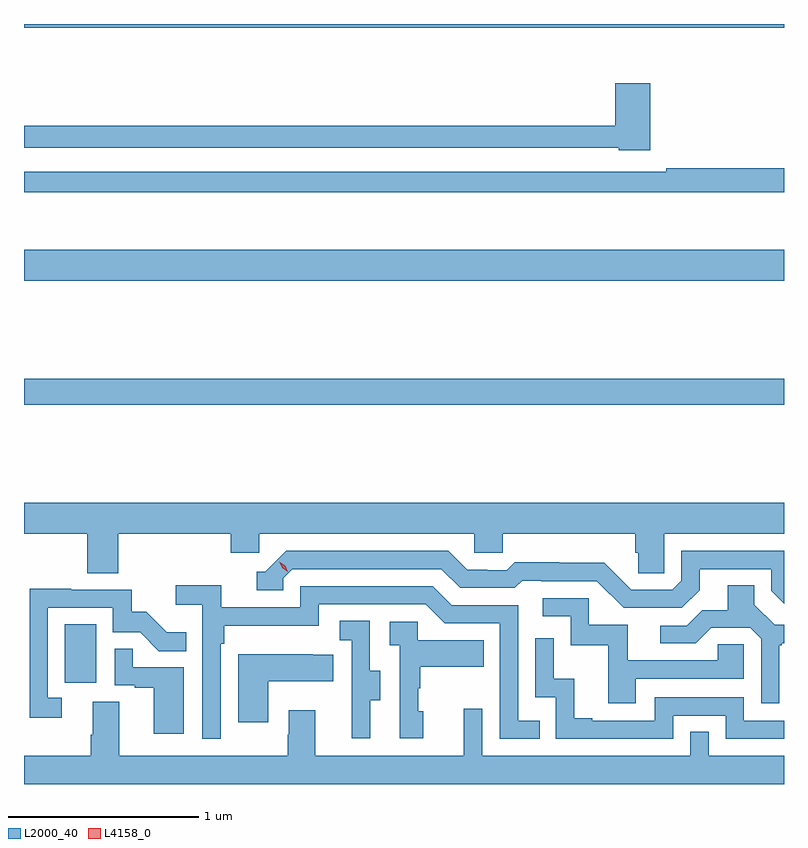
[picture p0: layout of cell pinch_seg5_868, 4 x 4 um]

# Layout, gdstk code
import gdstk
lib = gdstk.Library(unit=1e-6, precision=1e-09)
def R(c, l, rs):  # rectangles x0, y0, x1, y1
    for r in rs: c.add(gdstk.rectangle(r[:2], r[2:], *l))
def P(c, l, *ps):  # polygons
    for p in ps: c.add(gdstk.Polygon(p, *l))
L2000_40 = (2000, 40)
L4158_0 = (4158, 0)

pinch_seg5_868 = lib.new_cell('pinch_seg5_868')
R(pinch_seg5_868, L2000_40, [(863.954,891.942,864.118,892.249), (863.739,893.404,867.739,893.54), (863.739,894.056,867.739,894.22), (863.739,895.388,867.739,895.408)])
P(pinch_seg5_868, L2000_40, [(867.035,895.096),(866.852,895.096),(866.852,894.872),(863.739,894.872),(863.739,894.756),(866.868,894.756),(866.868,894.743),(867.035,894.743)],
  [(867.739,894.65),(867.118,894.65),(867.118,894.63),(863.739,894.63),(863.739,894.522),(867.739,894.522)],
  [(864.236,892.724),(864.827,892.724),(864.827,892.626),(864.978,892.626),(864.978,892.724),(866.109,892.724),(866.109,892.626),(866.259,892.626),(866.259,892.724),(866.957,892.724),(866.957,892.626),(866.971,892.626),(866.971,892.516),(867.108,892.516),(867.108,892.724),(867.739,892.724),(867.739,892.888),(863.739,892.888),(863.739,892.724),(864.071,892.724),(864.071,892.516),(864.236,892.516)],
  [(867.295,892.429),(867.295,892.539),(867.672,892.539),(867.672,892.425),(867.739,892.358),(867.739,892.635),(867.198,892.635),(867.198,892.479),(867.15,892.431),(866.934,892.431),(866.792,892.573),(866.556,892.573),(866.556,892.576),(866.323,892.576),(866.281,892.533),(866.178,892.533),(866.178,892.536),(866.071,892.536),(865.972,892.635),(865.119,892.635),(865.008,892.524),(864.965,892.524),(864.965,892.428),(865.104,892.428),(865.104,892.491),(865.152,892.539),(865.935,892.539),(866.034,892.44),(866.323,892.44),(866.362,892.479),(866.461,892.479),(866.461,892.476),(866.754,892.476),(866.895,892.335),(867.201,892.335)],
  [(867.715,892.137),(867.727,892.137),(867.727,892.148),(867.739,892.148),(867.739,892.245),(867.69,892.245),(867.583,892.352),(867.583,892.454),(867.443,892.454),(867.443,892.322),(867.308,892.322),(867.228,892.242),(867.087,892.242),(867.087,892.149),(867.274,892.149),(867.355,892.23),(867.561,892.23),(867.618,892.173),(867.618,891.834),(867.715,891.834)],
  [(864.774,892.145),(864.794,892.145),(864.794,892.241),(865.29,892.241),(865.29,892.353),(865.854,892.353),(865.953,892.254),(866.244,892.254),(866.244,891.645),(866.453,891.645),(866.453,891.741),(866.34,891.741),(866.34,892.35),(865.99,892.35),(865.891,892.449),(865.194,892.449),(865.194,892.338),(864.776,892.338),(864.776,892.454),(864.537,892.454),(864.537,892.352),(864.678,892.352),(864.678,891.645),(864.774,891.645)],
  [(863.938,891.861),(863.865,891.861),(863.865,892.335),(864.207,892.335),(864.207,892.206),(864.351,892.206),(864.449,892.108),(864.593,892.108),(864.593,892.207),(864.489,892.207),(864.382,892.314),(864.306,892.314),(864.306,892.431),(863.987,892.431),(863.987,892.436),(863.769,892.436),(863.769,891.756),(863.938,891.756)],
  [(866.959,891.963),(867.528,891.963),(867.528,892.143),(867.391,892.143),(867.391,892.059),(866.917,892.059),(866.917,892.245),(866.712,892.245),(866.712,892.386),(866.469,892.386),(866.469,892.29),(866.616,892.29),(866.616,892.137),(866.815,892.137),(866.815,891.834),(866.959,891.834)],
  [(865.561,891.85),(865.615,891.85),(865.615,892.005),(865.56,892.005),(865.56,892.268),(865.401,892.268),(865.401,892.165),(865.464,892.165),(865.464,891.861),(865.463,891.861),(865.463,891.648),(865.561,891.648)],
  [(865.84,891.792),(865.815,891.792),(865.815,891.911),(865.825,891.911),(865.825,892.025),(866.159,892.025),(866.159,892.165),(865.812,892.165),(865.812,892.263),(865.665,892.263),(865.665,892.139),(865.716,892.139),(865.716,891.648),(865.84,891.648)],
  [(867.156,891.768),(867.432,891.768),(867.432,891.645),(867.739,891.645),(867.739,891.741),(867.528,891.741),(867.528,891.864),(867.06,891.864),(867.06,891.741),(866.731,891.741),(866.731,891.754),(866.636,891.754),(866.636,891.962),(866.526,891.962),(866.526,892.174),(866.43,892.174),(866.43,891.864),(866.538,891.864),(866.538,891.645),(867.156,891.645)],
  [(864.58,892.023),(864.311,892.023),(864.311,892.121),(864.216,892.121),(864.216,891.927),(864.323,891.927),(864.323,891.915),(864.422,891.915),(864.422,891.672),(864.58,891.672)],
  [(865.024,891.95),(865.367,891.95),(865.367,892.087),(865.259,892.087),(865.259,892.09),(864.866,892.09),(864.866,891.732),(865.024,891.732)],
  [(867.739,891.556),(867.342,891.556),(867.342,891.683),(867.246,891.683),(867.246,891.556),(866.151,891.556),(866.151,891.805),(866.054,891.805),(866.054,891.556),(865.273,891.556),(865.273,891.796),(865.133,891.796),(865.133,891.668),(865.126,891.668),(865.126,891.556),(864.241,891.556),(864.241,891.842),(864.101,891.842),(864.101,891.668),(864.089,891.668),(864.089,891.556),(863.739,891.556),(863.739,891.408),(867.739,891.408)])
P(pinch_seg5_868, L4158_0, [(865.128,892.525),(865.098,892.545),(865.082,892.578),(865.082,892.578),(865.083,892.578),(865.113,892.558),(865.128,892.526),(865.128,892.525)])

lib.write_gds('pinch_seg5_868.gds')
